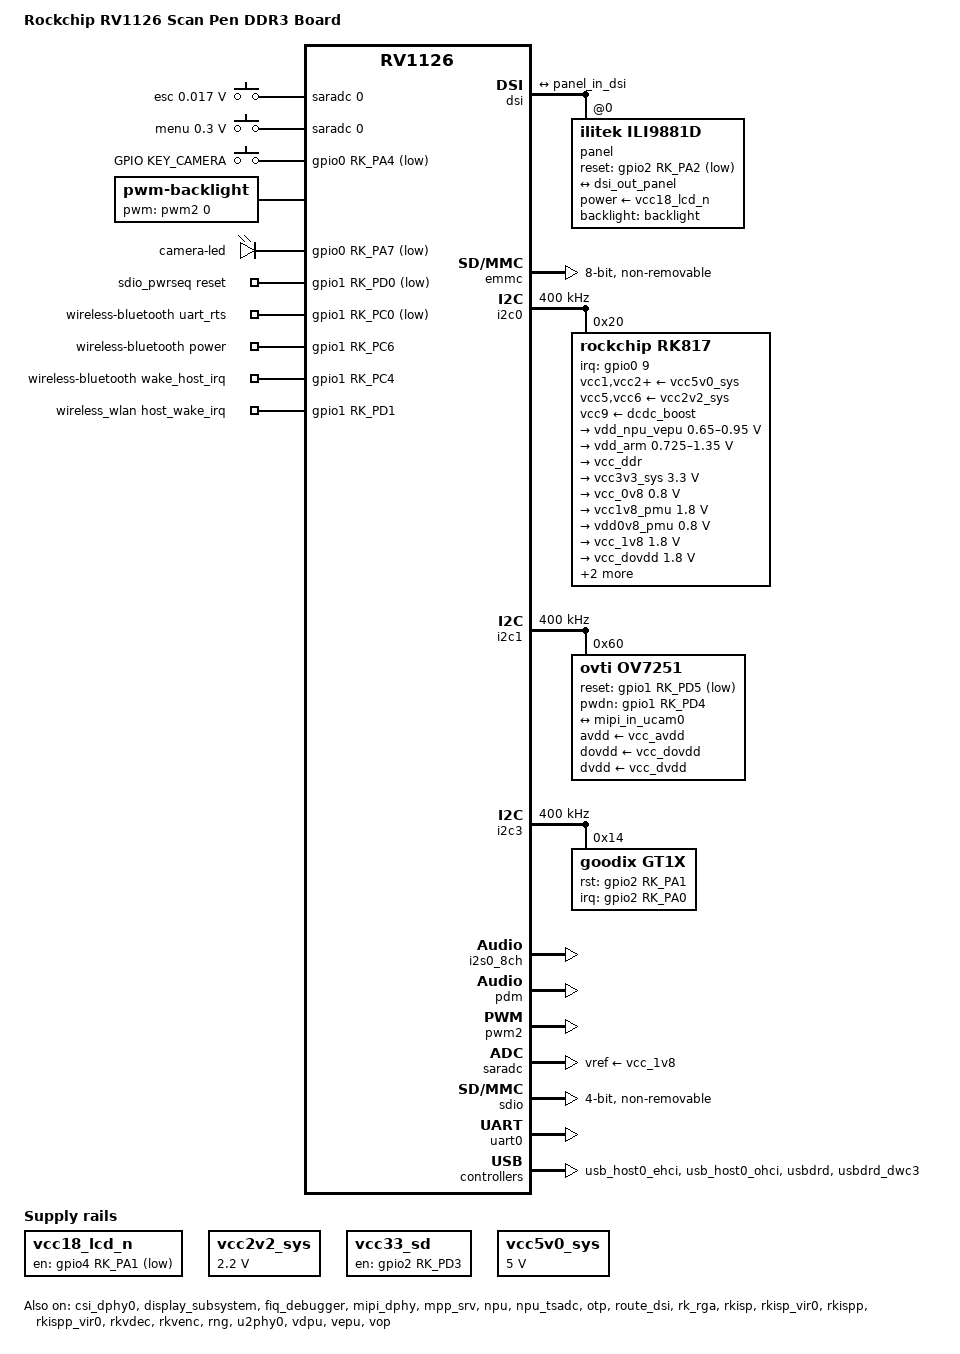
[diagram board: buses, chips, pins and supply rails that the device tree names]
// SPDX-License-Identifier: (GPL-2.0+ OR MIT)
/*
 * Copyright (c) 2021 Rockchip Electronics Co., Ltd.
 */

/dts-v1/;
#include <dt-bindings/display/drm_mipi_dsi.h>
#include <dt-bindings/input/input.h>
#include "rv1126.dtsi"

/ {
	model = "Rockchip RV1126 Scan Pen DDR3 Board";
	compatible = "rockchip,rv1126-dictionary-pen-v11", "rockchip,rv1126";

	chosen {
		bootargs = "earlycon=uart8250,mmio32,0xff570000 console=ttyFIQ0 root=PARTUUID=614e0000-0000 rootfstype=ext4 rootwait snd_aloop.index=7";
	};

	adc-keys {
		compatible = "adc-keys";
		io-channels = <&saradc 0>;
		io-channel-names = "buttons";
		poll-interval = <100>;
		keyup-threshold-microvolt = <1800000>;

		volup-key {
			label = "esc";
			linux,code = <KEY_VOLUMEUP>;
			press-threshold-microvolt = <17000>;
		};

		voldown-key {
			label = "menu";
			linux,code = <KEY_VOLUMEDOWN>;
			press-threshold-microvolt = <300000>;
		};
	};

	keys: gpio-keys {
		compatible = "gpio-keys";

		pinctrl-names = "default";
		pinctrl-0 = <&camera_key>;

		camera-key {
			gpios = <&gpio0 RK_PA4 GPIO_ACTIVE_LOW>;
			linux,code = <KEY_CAMERA>;
			label = "GPIO KEY_CAMERA";
			wakeup-source;
			debounce-interval = <20>;
		};
	};

	backlight: backlight {
		compatible = "pwm-backlight";
		pwms = <&pwm2 0 25000 0>;
		brightness-levels = <
			  0   1   2   3   4   5   6   7
			  8   9  10  11  12  13  14  15
			 16  17  18  19  20  21  22  23
			 24  25  26  27  28  29  30  31
			 32  33  34  35  36  37  38  39
			 40  41  42  43  44  45  46  47
			 48  49  50  51  52  53  54  55
			 56  57  58  59  60  61  62  63
			 64  65  66  67  68  69  70  71
			 72  73  74  75  76  77  78  79
			 80  81  82  83  84  85  86  87
			 88  89  90  91  92  93  94  95
			 96  97  98  99 100 101 102 103
			104 105 106 107 108 109 110 111
			112 113 114 115 116 117 118 119
			120 121 122 123 124 125 126 127
			128 129 130 131 132 133 134 135
			136 137 138 139 140 141 142 143
			144 145 146 147 148 149 150 151
			152 153 154 155 156 157 158 159
			160 161 162 163 164 165 166 167
			168 169 170 171 172 173 174 175
			176 177 178 179 180 181 182 183
			184 185 186 187 188 189 190 191
			192 193 194 195 196 197 198 199
			200 201 202 203 204 205 206 207
			208 209 210 211 212 213 214 215
			216 217 218 219 220 221 222 223
			224 225 226 227 228 229 230 231
			232 233 234 235 236 237 238 239
			240 241 242 243 244 245 246 247
			248 249 250 251 252 253 254 255>;
		default-brightness-level = <200>;
	};

	charge-animation {
		compatible = "rockchip,uboot-charge";
		rockchip,uboot-charge-on = <1>;
		rockchip,android-charge-on = <0>;
		rockchip,uboot-low-power-voltage = <3518>;
		rockchip,system-suspend = <0>;
		rockchip,auto-wakeup-interval = <5>;
		status = "okay";
	};

	leds {
		compatible = "gpio-leds";
		status = "okay";

		camera-led {
			gpios = <&gpio0 RK_PA7 GPIO_ACTIVE_LOW>;
			label = "camera-led";
			default-state = "off";
		};
	};

	rk817_sound: rk817-sound {
		compatible = "simple-audio-card";
		simple-audio-card,name = "rockchip,rk817-codec";
		simple-audio-card,mclk-fs = <256>;
		simple-audio-card,dai-link@0 {
			format = "i2s";
			cpu {
				sound-dai = <&i2s0_8ch>;
			};
			codec {
				sound-dai = <&rk817_codec 0>;
			};
		};
		simple-audio-card,dai-link@1 {
			format = "pdm";
			cpu {
				sound-dai = <&pdm>;
			};
			codec {
				sound-dai = <&rk817_codec 1>;
			};
		};
	};

	sdio_pwrseq: sdio-pwrseq {
		compatible = "mmc-pwrseq-simple";
		pinctrl-names = "default";
		pinctrl-0 = <&wifi_enable_h>;

		/*
		 * On the module itself this is one of these (depending
		 * on the actual card populated):
		 * - SDIO_RESET_L_WL_REG_ON
		 * - PDN (power down when low)
		 */
		reset-gpios = <&gpio1 RK_PD0 GPIO_ACTIVE_LOW>;
	};

	vcc18_lcd_n: vcc18-lcd-n {
		compatible = "regulator-fixed";
		regulator-name = "vcc18_lcd_n";
		gpio = <&gpio4 RK_PA1 GPIO_ACTIVE_LOW>;
		enable-active-low;
		regulator-boot-on;
	};

	vcc2v2_sys: vcc22sys {
		compatible = "regulator-fixed";
		regulator-name = "vcc2v2_sys";
		regulator-always-on;
		regulator-boot-on;
		regulator-min-microvolt = <2200000>;
		regulator-max-microvolt = <2200000>;
	};

	vcc33_sd: vcc33-sd {
		compatible = "regulator-fixed";
		regulator-name = "vcc33_sd";
		pinctrl-names = "default";
		pinctrl-0 = <&sdmmc_pwr>;
		gpio = <&gpio2 RK_PD3 GPIO_ACTIVE_HIGH>;
		enable-active-high;
	};

	vcc5v0_sys: vccsys {
		compatible = "regulator-fixed";
		regulator-name = "vcc5v0_sys";
		regulator-always-on;
		regulator-boot-on;
		regulator-min-microvolt = <5000000>;
		regulator-max-microvolt = <5000000>;
	};

	wireless-bluetooth {
		compatible = "bluetooth-platdata";
		uart_rts_gpios = <&gpio1 RK_PC0 GPIO_ACTIVE_LOW>;
		pinctrl-names = "default", "rts_gpio";
		pinctrl-0 = <&uart0_rtsn>;
		pinctrl-1 = <&uart0_rtsn_gpio>;
		BT,power_gpio    = <&gpio1 RK_PC6 GPIO_ACTIVE_HIGH>;
		BT,wake_host_irq = <&gpio1 RK_PC4 GPIO_ACTIVE_HIGH>;
		status = "okay";
	};

	wireless_wlan: wireless-wlan {
		compatible = "wlan-platdata";
		rockchip,grf = <&grf>;
		wifi_chip_type = "rtl8723ds";
		pinctrl-names = "default";
		pinctrl-0 = <&wifi_wake_host>;
		/* WIFI,poweren_gpio = <&gpio0 RK_PA6 GPIO_ACTIVE_HIGH>; */
		WIFI,host_wake_irq = <&gpio1 RK_PD1 GPIO_ACTIVE_HIGH>;
		status = "okay";
	};
};

&csi_dphy0 {
	status = "okay";

	ports {
		#address-cells = <1>;
		#size-cells = <0>;
		port@0 {
			reg = <0>;
			#address-cells = <1>;
			#size-cells = <0>;

			mipi_in_ucam0: endpoint@1 {
				reg = <1>;
				remote-endpoint = <&ucam_out0>;
				data-lanes = <1>;
			};
		};
		port@1 {
			reg = <1>;
			#address-cells = <1>;
			#size-cells = <0>;

			csidphy0_out: endpoint@0 {
				reg = <0>;
				remote-endpoint = <&isp_in>;
			};
		};
	};
};

&cpu0 {
	cpu-supply = <&vdd_arm>;
};

&display_subsystem {
	status = "okay";
};

&display_subsystem {
	status = "okay";
};

&dsi {
	status = "okay";

	rockchip,lane-rate = <480>;
	panel@0 {
		compatible = "ilitek,ili9881d", "simple-panel-dsi";
		reg = <0>;
		backlight = <&backlight>;
		power-supply = <&vcc18_lcd_n>;
		pinctrl-names = "default";
		pinctrl-0 = <&lcd_rst>;
		reset-gpios = <&gpio2 RK_PA2 GPIO_ACTIVE_LOW>;
		prepare-delay-ms = <5>;
		reset-delay-ms = <1>;
		init-delay-ms = <80>;
		disable-delay-ms = <10>;
		unprepare-delay-ms = <5>;

		width-mm = <68>;
		height-mm = <121>;

		dsi,flags = <(MIPI_DSI_MODE_VIDEO | MIPI_DSI_MODE_VIDEO_BURST |
			      MIPI_DSI_MODE_LPM | MIPI_DSI_MODE_EOT_PACKET)>;
		dsi,format = <MIPI_DSI_FMT_RGB888>;
		dsi,lanes = <4>;

		panel-init-sequence = [
			39 00 04 ff 98 81 03
			15 00 02 01 00
			15 00 02 02 00
			15 00 02 03 53
			15 00 02 04 53
			15 00 02 05 13
			15 00 02 06 04
			15 00 02 07 02
			15 00 02 08 02
			15 00 02 09 00
			15 00 02 0a 00
			15 00 02 0b 00
			15 00 02 0c 00
			15 00 02 0d 00
			15 00 02 0e 00
			15 00 02 0f 00
			15 00 02 10 00
			15 00 02 11 00
			15 00 02 12 00
			15 00 02 13 00
			15 00 02 14 00
			15 00 02 15 08
			15 00 02 16 10
			15 00 02 17 00
			15 00 02 18 08
			15 00 02 19 00
			15 00 02 1a 00
			15 00 02 1b 00
			15 00 02 1c 00
			15 00 02 1d 00
			15 00 02 1e c0
			15 00 02 1f 80
			15 00 02 20 02
			15 00 02 21 09
			15 00 02 22 00
			15 00 02 23 00
			15 00 02 24 00
			15 00 02 25 00
			15 00 02 26 00
			15 00 02 27 00
			15 00 02 28 55
			15 00 02 29 03
			15 00 02 2a 00
			15 00 02 2b 00
			15 00 02 2c 00
			15 00 02 2d 00
			15 00 02 2e 00
			15 00 02 2f 00
			15 00 02 30 00
			15 00 02 31 00
			15 00 02 32 00
			15 00 02 33 00
			15 00 02 34 04
			15 00 02 35 05
			15 00 02 36 05
			15 00 02 37 00
			15 00 02 38 3c
			15 00 02 39 35
			15 00 02 3a 00
			15 00 02 3b 40
			15 00 02 3c 00
			15 00 02 3d 00
			15 00 02 3e 00
			15 00 02 3f 00
			15 00 02 40 00
			15 00 02 41 88
			15 00 02 42 00
			15 00 02 43 00
			15 00 02 44 1f
			15 00 02 50 01
			15 00 02 51 23
			15 00 02 52 45
			15 00 02 53 67
			15 00 02 54 89
			15 00 02 55 ab
			15 00 02 56 01
			15 00 02 57 23
			15 00 02 58 45
			15 00 02 59 67
			15 00 02 5a 89
			15 00 02 5b ab
			15 00 02 5c cd
			15 00 02 5d ef
			15 00 02 5e 03
			15 00 02 5f 14
			15 00 02 60 15
			15 00 02 61 0c
			15 00 02 62 0d
			15 00 02 63 0e
			15 00 02 64 0f
			15 00 02 65 10
			15 00 02 66 11
			15 00 02 67 08
			15 00 02 68 02
			15 00 02 69 0a
			15 00 02 6a 02
			15 00 02 6b 02
			15 00 02 6c 02
			15 00 02 6d 02
			15 00 02 6e 02
			15 00 02 6f 02
			15 00 02 70 02
			15 00 02 71 02
			15 00 02 72 06
			15 00 02 73 02
			15 00 02 74 02
			15 00 02 75 14
			15 00 02 76 15
			15 00 02 77 0f
			15 00 02 78 0e
			15 00 02 79 0d
			15 00 02 7a 0c
			15 00 02 7b 11
			15 00 02 7c 10
			15 00 02 7d 06
			15 00 02 7e 02
			15 00 02 7f 0a
			15 00 02 80 02
			15 00 02 81 02
			15 00 02 82 02
			15 00 02 83 02
			15 00 02 84 02
			15 00 02 85 02
			15 00 02 86 02
			15 00 02 87 02
			15 00 02 88 08
			15 00 02 89 02
			15 00 02 8a 02
			39 00 04 ff 98 81 04
			15 00 02 00 80
			15 00 02 70 00
			15 00 02 71 00
			15 00 02 66 fe
			15 00 02 82 15
			15 00 02 84 15
			15 00 02 85 15
			15 00 02 3a 24
			15 00 02 32 ac
			15 00 02 8c 80
			15 00 02 3c f5
			15 00 02 88 33
			39 00 04 ff 98 81 01
			15 00 02 22 0a
			15 00 02 31 00
			15 00 02 53 78
			15 00 02 55 7b
			15 00 02 60 20
			15 00 02 61 00
			15 00 02 62 0d
			15 00 02 63 00
			15 00 02 a0 00
			15 00 02 a1 10
			15 00 02 a2 1c
			15 00 02 a3 13
			15 00 02 a4 15
			15 00 02 a5 26
			15 00 02 a6 1a
			15 00 02 a7 1d
			15 00 02 a8 67
			15 00 02 a9 1c
			15 00 02 aa 29
			15 00 02 ab 5b
			15 00 02 ac 26
			15 00 02 ad 28
			15 00 02 ae 5c
			15 00 02 af 30
			15 00 02 b0 31
			15 00 02 b1 32
			15 00 02 b2 00
			15 00 02 b1 2e
			15 00 02 b2 32
			15 00 02 b3 00
			15 00 02 c0 00
			15 00 02 c1 10
			15 00 02 c2 1c
			15 00 02 c3 13
			15 00 02 c4 15
			15 00 02 c5 26
			15 00 02 c6 1a
			15 00 02 c7 1d
			15 00 02 c8 67
			15 00 02 c9 1c
			15 00 02 ca 29
			15 00 02 cb 5b
			15 00 02 cc 26
			15 00 02 cd 28
			15 00 02 ce 5c
			15 00 02 cf 30
			15 00 02 d0 31
			15 00 02 d1 2e
			15 00 02 d2 32
			15 00 02 d3 00
			39 00 04 ff 98 81 00
			05 00 01 11
			05 01 01 29
		];

		display-timings {
			native-mode = <&timing0>;

			timing0: timing0 {
				clock-frequency = <65000000>;
				hactive = <720>;
				vactive = <1280>;
				hfront-porch = <48>;
				hsync-len = <8>;
				hback-porch = <52>;
				vfront-porch = <16>;
				vsync-len = <6>;
				vback-porch = <15>;
				hsync-active = <0>;
				vsync-active = <0>;
				de-active = <0>;
				pixelclk-active = <0>;
			};
		};

		ports {
			#address-cells = <1>;
			#size-cells = <0>;

			port@0 {
				reg = <0>;
				panel_in_dsi: endpoint {
					remote-endpoint = <&dsi_out_panel>;
				};
			};
		};
	};

	ports {
		#address-cells = <1>;
		#size-cells = <0>;

		port@1 {
			reg = <1>;
			dsi_out_panel: endpoint {
				remote-endpoint = <&panel_in_dsi>;
			};
		};
	};
};

&emmc {
	bus-width = <8>;
	cap-mmc-highspeed;
	non-removable;
	mmc-hs200-1_8v;
	rockchip,default-sample-phase = <90>;
	supports-emmc;
	/delete-property/ pinctrl-names;
	/delete-property/ pinctrl-0;
	status = "okay";
};

&fiq_debugger {
	status = "okay";
};

&i2c0 {
	status = "okay";
	clock-frequency = <400000>;

	rk817: pmic@20 {
		status = "okay";
		compatible = "rockchip,rk817";
		reg = <0x20>;
		interrupt-parent = <&gpio0>;
		interrupts = <9 IRQ_TYPE_LEVEL_LOW>;
		pinctrl-names = "default", "pmic-sleep",
						"pmic-power-off", "pmic-reset";
		pinctrl-0 = <&pmic_int>;
		pinctrl-1 = <&soc_slppin_gpio>, <&rk817_slppin_slp>;
		pinctrl-2 = <&soc_slppin_gpio>, <&rk817_slppin_pwrdn>;
		pinctrl-3 = <&soc_slppin_gpio>, <&rk817_slppin_slp>;
		rockchip,system-power-controller;
		wakeup-source;
		#clock-cells = <1>;
		clock-output-names = "rk808-clkout1", "rk808-clkout2";
		/* 0: rst the pmic, 1: rst regs (default in codes) */
		pmic-reset-func = <0>;

		vcc1-supply = <&vcc5v0_sys>;
		vcc2-supply = <&vcc5v0_sys>;
		vcc3-supply = <&vcc5v0_sys>;
		vcc4-supply = <&vcc5v0_sys>;
		vcc5-supply = <&vcc2v2_sys>;
		vcc6-supply = <&vcc2v2_sys>;
		vcc7-supply = <&vcc5v0_sys>;
		vcc8-supply = <&vcc5v0_sys>;
		vcc9-supply = <&dcdc_boost>;

		pwrkey {
			status = "okay";
		};

		pinctrl_rk8xx: pinctrl_rk8xx {
			gpio-controller;
			#gpio-cells = <2>;

			/omit-if-no-ref/
			rk817_slppin_null: rk817_slppin_null {
				pins = "gpio_slp";
				function = "pin_fun0";
			};

			/omit-if-no-ref/
			rk817_slppin_slp: rk817_slppin_slp {
				pins = "gpio_slp";
				function = "pin_fun1";
			};

			/omit-if-no-ref/
			rk817_slppin_pwrdn: rk817_slppin_pwrdn {
				pins = "gpio_slp";
				function = "pin_fun2";
			};

			/omit-if-no-ref/
			rk817_slppin_rst: rk817_slppin_rst {
				pins = "gpio_slp";
				function = "pin_fun3";
			};
		};

		regulators {
			vdd_npu_vepu: DCDC_REG1 {
				regulator-always-on;
				regulator-boot-on;
				regulator-min-microvolt = <650000>;
				regulator-max-microvolt = <950000>;
				regulator-ramp-delay = <6001>;
				regulator-initial-mode = <0x2>;
				regulator-name = "vdd_npu_vepu";
				regulator-state-mem {
					regulator-on-in-suspend;
					regulator-suspend-microvolt = <800000>;
				};
			};

			vdd_arm: DCDC_REG2 {
				regulator-always-on;
				regulator-boot-on;
				regulator-min-microvolt = <725000>;
				regulator-max-microvolt = <1350000>;
				regulator-ramp-delay = <6001>;
				regulator-initial-mode = <0x2>;
				regulator-name = "vdd_arm";
				regulator-state-mem {
					regulator-off-in-suspend;
				};
			};

			vcc_ddr: DCDC_REG3 {
				regulator-always-on;
				regulator-boot-on;
				regulator-initial-mode = <0x2>;
				regulator-name = "vcc_ddr";
				regulator-state-mem {
					regulator-on-in-suspend;
				};
			};

			vcc3v3_sys: DCDC_REG4 {
				regulator-always-on;
				regulator-boot-on;
				regulator-min-microvolt = <3300000>;
				regulator-max-microvolt = <3300000>;
				regulator-initial-mode = <0x2>;
				regulator-name = "vcc3v3_sys";
				regulator-state-mem {
					regulator-on-in-suspend;
					regulator-suspend-microvolt = <3300000>;
				};
			};

			vcc_0v8: LDO_REG1 {
				regulator-always-on;
				regulator-boot-on;
				regulator-min-microvolt = <800000>;
				regulator-max-microvolt = <800000>;
				regulator-name = "vcc_0v8";
				regulator-state-mem {
					regulator-off-in-suspend;
				};
			};

			vcc1v8_pmu: LDO_REG2 {
				regulator-always-on;
				regulator-boot-on;
				regulator-min-microvolt = <1800000>;
				regulator-max-microvolt = <1800000>;
				regulator-name = "vcc1v8_pmu";
				regulator-state-mem {
					regulator-on-in-suspend;
					regulator-suspend-microvolt = <1800000>;
				};
			};

			vdd0v8_pmu: LDO_REG3 {
				regulator-always-on;
				regulator-boot-on;
				regulator-min-microvolt = <800000>;
				regulator-max-microvolt = <800000>;
				regulator-name = "vcc0v8_pmu";
				regulator-state-mem {
					regulator-on-in-suspend;
					regulator-suspend-microvolt = <800000>;
				};
			};

			vcc_1v8: LDO_REG4 {
				regulator-always-on;
				regulator-boot-on;
				regulator-min-microvolt = <1800000>;
				regulator-max-microvolt = <1800000>;
				regulator-name = "vcc_1v8";
				regulator-state-mem {
					regulator-off-in-suspend;
				};
			};

			vcc_dovdd: LDO_REG5 {
				regulator-min-microvolt = <1800000>;
				regulator-max-microvolt = <1800000>;
				regulator-name = "vcc_dovdd";
				regulator-state-mem {
					regulator-off-in-suspend;
				};
			};

			vcc_dvdd: LDO_REG6 {
				regulator-min-microvolt = <1500000>;
				regulator-max-microvolt = <1500000>;
				regulator-name = "vcc_dvdd";
				regulator-state-mem {
					regulator-off-in-suspend;
				};
			};

			vcc_avdd: LDO_REG7 {
				regulator-min-microvolt = <2800000>;
				regulator-max-microvolt = <2800000>;
				regulator-name = "vcc_avdd";
				regulator-state-mem {
					regulator-off-in-suspend;
				};
			};

			vccio_sd: LDO_REG8 {
				regulator-always-on;
				regulator-boot-on;
				regulator-min-microvolt = <1800000>;
				regulator-max-microvolt = <3300000>;
				regulator-name = "vccio_sd";
				regulator-state-mem {
					regulator-off-in-suspend;
				};
			};

			vcc3v3_lcd: LDO_REG9 {
				regulator-always-on;
				regulator-boot-on;
				regulator-min-microvolt = <3300000>;
				regulator-max-microvolt = <3300000>;
				regulator-name = "vcc3v3_lcd";
				regulator-state-mem {
					regulator-off-in-suspend;
				};
			};

			dcdc_boost: BOOST {
				regulator-always-on;
				regulator-boot-on;
				regulator-min-microvolt = <4700000>;
				regulator-max-microvolt = <5400000>;
				regulator-name = "boost";
			};

			otg_switch: OTG_SWITCH {
				regulator-name = "otg_switch";
			};
		};

		battery {
			compatible = "rk817,battery";
			ocv_table = <3500 3625 3685 3697 3718 3735 3748
			3760 3774 3788 3802 3816 3834 3853
			3877 3908 3946 3975 4018 4071 4106>;
			design_capacity = <950>;
			design_qmax = <975>;
			bat_res = <100>;
			sleep_enter_current = <30>;
			sleep_exit_current = <30>;
			sleep_filter_current = <10>;
			power_off_thresd = <3500>;
			zero_algorithm_vol = <3850>;
			max_soc_offset = <60>;
			monitor_sec = <5>;
			sample_res = <10>;
			virtual_power = <0>;
		};

		charger {
			compatible = "rk817,charger";
			min_input_voltage = <4500>;
			max_input_current = <1500>;
			max_chrg_current = <500>;
			max_chrg_voltage = <4350>;
			chrg_term_mode = <0>;
			chrg_finish_cur = <20>;
			virtual_power = <0>;
			dc_det_adc = <0>;
			extcon = <&u2phy0>;
		};

		rk817_codec: codec {
			#sound-dai-cells = <1>;
			compatible = "rockchip,rk817-codec";
			clocks = <&cru MCLK_I2S0_TX_OUT2IO>;
			clock-names = "mclk";
			assigned-clocks = <&cru MCLK_I2S0_TX_OUT2IO>;
			assigned-clock-parents = <&cru MCLK_I2S0_TX>;
			pinctrl-names = "default";
			pinctrl-0 = <&i2s0m0_mclk>;
			hp-volume = <20>;
			spk-volume = <3>;
			status = "okay";
		};
	};
};

&i2c1 {
	status = "okay";
	clock-frequency = <400000>;

	ov7251: ov7251@60 {
		compatible = "ovti,ov7251";
		reg = <0x60>;

		clocks = <&cru CLK_MIPICSI_OUT>;
		clock-names = "xvclk";

		power-domains = <&power RV1126_PD_VI>;
		pinctrl-names = "rockchip,camera_default";
		pinctrl-0 = <&mipicsi_clk0>;

		avdd-supply = <&vcc_avdd>;
		dovdd-supply = <&vcc_dovdd>;
		dvdd-supply = <&vcc_dvdd>;

		reset-gpios = <&gpio1 RK_PD5 GPIO_ACTIVE_LOW>;
		pwdn-gpios = <&gpio1 RK_PD4 GPIO_ACTIVE_HIGH>;

		rockchip,camera-module-index = <0>;
		rockchip,camera-module-facing = "back";
		rockchip,camera-module-name = "default";
		rockchip,camera-module-lens-name = "default";

		port {
			ucam_out0: endpoint {
				remote-endpoint = <&mipi_in_ucam0>;
				data-lanes = <1>;
			};
		};
	};
};

&i2c3 {
	status = "okay";
	clock-frequency = <400000>;

	gt1x: gt1x@14 {
		compatible = "goodix,gt1x";
		reg = <0x14>;
		goodix,rst-gpio = <&gpio2 RK_PA1 GPIO_ACTIVE_HIGH>;
		goodix,irq-gpio = <&gpio2 RK_PA0 IRQ_TYPE_LEVEL_LOW>;
	};
};

&i2s0_8ch {
	status = "okay";
	#sound-dai-cells = <0>;
	rockchip,clk-trcm = <1>;
	rockchip,i2s-rx-route = <0 1 2 3>;
	pinctrl-names = "default";
	pinctrl-0 = <&i2s0m0_sclk_tx
		&i2s0m0_lrck_tx
		&i2s0m0_sdi0
		&i2s0m0_sdo0>;
};

&isp_reserved {
	size = <0x2000000>;
};

&mipi_dphy {
	status = "okay";
};

&mpp_srv {
	status = "okay";
};

&npu {
	npu-supply = <&vdd_npu_vepu>;
	status = "okay";
};

&npu_tsadc {
	status = "okay";
};

&optee {
	status = "disabled";
};

&otp {
	status = "okay";
};

&pdm {
	status = "okay";
	#sound-dai-cells = <0>;
	pinctrl-names = "default";
	pinctrl-0 = <&pdmm0_clk &pdmm0_sdi3>;
	rockchip,path-map = <3 0 1 2>;
};

&pinctrl {
	keys {
		camera_key: camera-key {
			rockchip,pins = <0 RK_PA4 RK_FUNC_GPIO &pcfg_pull_up>;
		};
	};

	lcd {
		/omit-if-no-ref/
		lcd_rst: lcd-rst {
			rockchip,pins =	<2 RK_PA2 0 &pcfg_pull_none>;
		};
	};

	pmic {
		/omit-if-no-ref/
		pmic_int: pmic_int {
			rockchip,pins =
				<0 RK_PB1 RK_FUNC_GPIO &pcfg_pull_up>;
		};

		/omit-if-no-ref/
		soc_slppin_gpio: soc_slppin_gpio {
			rockchip,pins =
				<0 RK_PB2 RK_FUNC_GPIO &pcfg_output_low>;
		};

		/omit-if-no-ref/
		soc_slppin_slp: soc_slppin_slp {
			rockchip,pins =
				<0 RK_PB2 RK_FUNC_1 &pcfg_pull_down>;
		};

		/omit-if-no-ref/
		soc_slppin_rst: soc_slppin_rst {
			rockchip,pins =
				<0 RK_PB2 RK_FUNC_2 &pcfg_pull_none>;
		};
	};

	sdio-pwrseq {
		/omit-if-no-ref/
		wifi_enable_h: wifi-enable-h {
			rockchip,pins = <1 RK_PD0 RK_FUNC_GPIO &pcfg_pull_none>;
		};
	};

	sdcard {
		/omit-if-no-ref/
		sdmmc_pwr: sdmmc-pwr {
			rockchip,pins = <2 RK_PD3 RK_FUNC_GPIO &pcfg_pull_none>;
		};
	};

	wireless-wlan {
		/omit-if-no-ref/
		wifi_wake_host: wifi-wake-host {
			rockchip,pins = <1 RK_PD1 0 &pcfg_pull_up>;
		};
	};
};

&pmu_io_domains {
	status = "okay";

	pmuio0-supply = <&vcc3v3_sys>;
	pmuio1-supply = <&vcc3v3_sys>;
	vccio2-supply = <&vccio_sd>;
	vccio3-supply = <&vcc3v3_sys>;
	vccio4-supply = <&vcc_1v8>;
	vccio5-supply = <&vcc3v3_sys>;
	vccio6-supply = <&vcc3v3_sys>;
	vccio7-supply = <&vcc_1v8>;
};

&rockchip_suspend {
	status = "okay";
	rockchip,sleep-debug-en = <1>;
	rockchip,sleep-mode-config = <
		(0
		| RKPM_SLP_ARMOFF
		| RKPM_SLP_PMU_PMUALIVE_32K
		| RKPM_SLP_PMU_DIS_OSC
		| RKPM_SLP_PMIC_LP
		)
	>;
	rockchip,wakeup-config = <
		(0
		| RKPM_GPIO_WKUP_EN
		)
	>;
};

&pwm2 {
	status = "okay";
};

&ramoops {
	status = "okay";
};

&route_dsi {
	status = "okay";
};

&rk_rga {
	status = "okay";
};

&rkcif_mmu {
	status = "disabled";
};

&rkisp {
	status = "okay";
};

&rkisp_vir0 {
	status = "okay";

	ports {
		port@0 {
			reg = <0>;
			#address-cells = <1>;
			#size-cells = <0>;

			isp_in: endpoint@0 {
				reg = <0>;
				remote-endpoint = <&csidphy0_out>;
			};
		};
	};
};

&rkisp_mmu {
	status = "disabled";
};

&rkispp {
	status = "okay";
	/* the max input w h and fps of mulit sensor */
	//max-input = <2688 1520 30>;
};

&rkispp_vir0 {
	status = "okay";
};

&rkispp_mmu {
	status = "okay";
};

&rkvdec {
	status = "okay";
};

&rkvdec_mmu {
	status = "okay";
};

&rkvenc {
	venc-supply = <&vdd_npu_vepu>;
	status = "okay";
};

&rkvenc_mmu {
	status = "okay";
};

&rkvenc_opp_table {
	/*
	 * max IR-drop values on different freq condition for this board!
	 */
	rockchip,board-irdrop = <
	     /* MHz	MHz	uV */
		500	594	50000
	>;
};

&rng {
	status = "okay";
};

&saradc {
	status = "okay";
	vref-supply = <&vcc_1v8>;
};

&sdmmc {
	bus-width = <4>;
	cap-mmc-highspeed;
	cap-sd-highspeed;
	card-detect-delay = <200>;
	rockchip,default-sample-phase = <90>;
	supports-sd;
	sd-uhs-sdr12;
	sd-uhs-sdr25;
	sd-uhs-sdr104;
	vqmmc-supply = <&vccio_sd>;
	vmmc-supply = <&vcc33_sd>;
	status = "disabled";
};

&sdio {
	max-frequency = <200000000>;
	bus-width = <4>;
	cap-sd-highspeed;
	cap-sdio-irq;
	keep-power-in-suspend;
	non-removable;
	rockchip,default-sample-phase = <90>;
	sd-uhs-sdr104;
	supports-sdio;
	mmc-pwrseq = <&sdio_pwrseq>;
	status = "okay";
};

&sfc {
	status = "disabled";
};

&u2phy0 {
	status = "okay";
	vup-gpios = <&gpio0 RK_PC1 GPIO_ACTIVE_LOW>;
	u2phy_otg: otg-port {
		status = "okay";
	};
};

&u2phy1 {
	status = "disabled";
};

&uart0 {
	pinctrl-names = "default";
	pinctrl-0 = <&uart0_xfer &uart0_ctsn>;
	status = "okay";
};

&usb_host0_ehci {
	status = "okay";
};

&usb_host0_ohci {
	status = "okay";
};

&usbdrd {
	status = "okay";
};

&usbdrd_dwc3 {
	status = "okay";
	extcon = <&u2phy0>;
};

&vdpu {
	status = "okay";
};

&vepu {
	status = "okay";
};

&vpu_mmu {
	status = "okay";
};

&vop {
	status = "okay";
};

&vop_mmu {
	status = "okay";
};
